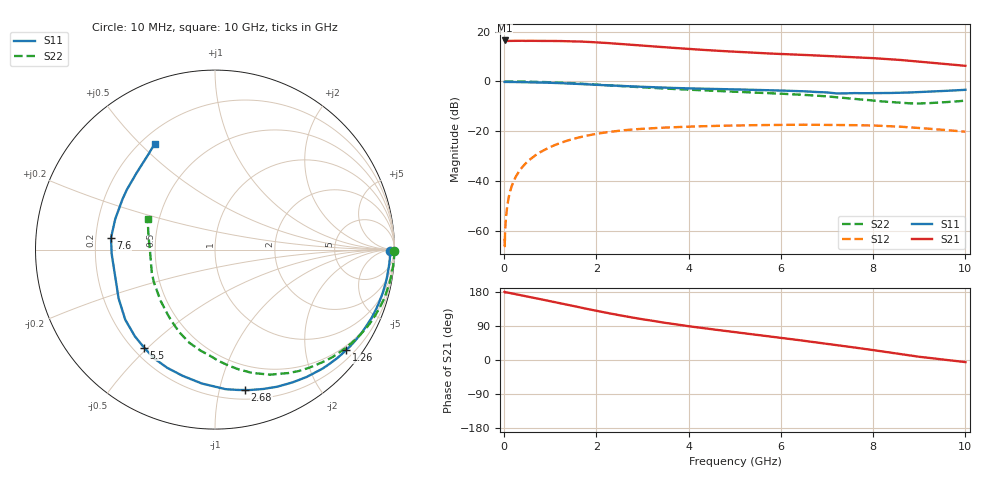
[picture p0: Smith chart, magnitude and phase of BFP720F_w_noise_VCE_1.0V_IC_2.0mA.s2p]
! Infineon Technologies  Discrete & RF Semiconductors
! BFP720F
! VCE =  1.0 V,  IC =  2.0 mA
! Common Emitter S-Parameters:  Jan 2016
# GHz  S  MA  R  50
!  f  S11  S21  S12  S22
! GHz  MAG  ANG  MAG  ANG  MAG  ANG  MAG  ANG
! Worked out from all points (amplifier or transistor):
!   233 points, 10 MHz to 10 GHz, reference 50 ohm
!   highest |S21| = 16.4 dB at 10 MHz (marker M1)
!   |S21| within 3 dB of that: start of sweep to 3.697 GHz
!   unconditionally stable (mu >= 1): nowhere
!   at 200 MHz: K = 0.02, MSG = 28.3 dB, |S12| = -40.3 dB
!   at 1.74 GHz: K = 0.14, MSG = 18.9 dB, |S12| = -21.9 dB
!   at 10 GHz: K = 0.95, MSG = 13.2 dB, |S12| = -20.1 dB
!   lowest NFmin = 0.43 dB at 450 MHz
!   S11 on the Smith chart (normalised r, x): 10 MHz: 76, -16; 1.26 GHz: 0.39, -2.90; 2.68 GHz: 0.28, -1.20; 5.5 GHz: 0.24, -0.49; 7.6 GHz: 0.26, +0.05; 10 GHz: 0.25, +0.55
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0.01  0.9751 -0.3  6.617 179.8  0.0007 -28.2  0.9973 -0.4
0.015  0.9756 -0.4  6.506 179.0  0.0005 47.9  0.9986 -0.8
0.02  0.9761 -0.5  6.397 178.2  0.001 90.7  1 -1.1
0.04  0.9755 -1.2  6.448 178.4  0.0019 90.0  0.9984 -1.2
0.09  0.9757 -2.5  6.485 177.6  0.0043 88.7  0.9984 -2.1
0.16  0.9742 -4.6  6.502 175.9  0.0078 86.8  0.998 -3.6
0.26  0.9716 -7.4  6.51 173.5  0.0127 85.2  0.996 -5.9
0.46  0.9661 -13.3  6.487 168.5  0.0225 80.5  0.99 -10.6
0.8  0.9519 -23.5  6.524 160.3  0.039 73.1  0.9758 -18.5
1.26  0.9206 -37.5  6.419 148.6  0.0603 62.6  0.9415 -29.4
1.68  0.8849 -50.5  6.283 137.8  0.0777 53.0  0.8994 -39.6
2.2  0.8388 -65.6  5.914 125.1  0.0952 41.4  0.8425 -51.3
2.68  0.8002 -77.9  5.487 114.2  0.1067 31.8  0.7913 -60.6
3.4  0.7539 -93.5  4.904 99.9  0.1179 19.7  0.7268 -71.6
4  0.726 -104.4  4.483 89.1  0.1244 11.1  0.6825 -78.5
5.1  0.6899 -120.4  3.892 72.0  0.1314 -2.6  0.6152 -88.9
5.5  0.6739 -125.9  3.724 65.9  0.1333 -7.2  0.5915 -92.8
6.8  0.6121 -148.6  3.297 45.9  0.1353 -22.6  0.5154 -110.0
7.6  0.5831 173.6  3.041 32.9  0.1329 -32.4  0.4467 -126.3
8.4  0.5873 151.2  2.771 19.0  0.1265 -43.0  0.3858 -152.1
9  0.6114 135.5  2.497 8.5  0.1169 -50.6  0.3619 -177.9
10  0.6786 119.7  2.052 -5.5  0.0983 -59.5  0.4118 155.3
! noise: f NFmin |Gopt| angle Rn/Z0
0.45  0.43  0.69  4  0.26
0.9  0.5  0.69  12  0.28
1.8  0.54  0.67  25  0.22
2.4  0.57  0.66  31  0.22
5.5  0.87  0.48  86  0.15
10  1.3  0.32  -135  0.15
